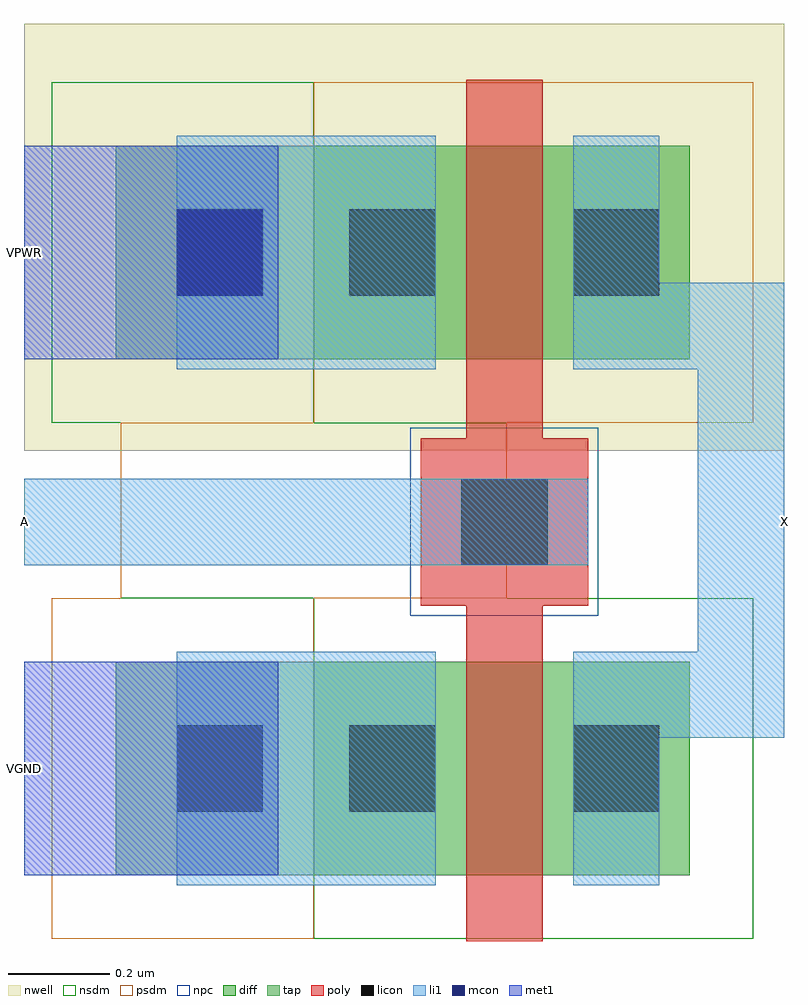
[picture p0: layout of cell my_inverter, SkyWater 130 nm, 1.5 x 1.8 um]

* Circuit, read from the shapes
.subckt my_inverter A VGND VPWR X
XM1 X A VSUBS VSUBS sky130_fd_pr__nfet_01v8 w=0.42 l=0.15
XM2 X A VPWR VPWR sky130_fd_pr__pfet_01v8 w=0.42 l=0.15
.ends

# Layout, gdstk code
import gdstk
lib = gdstk.Library(unit=1e-6, precision=1e-09)
def R(c, l, rs):  # rectangles x0, y0, x1, y1
    for r in rs: c.add(gdstk.rectangle(r[:2], r[2:], *l))
nwell = (64, 20)
diff = (65, 20)
tap = (65, 44)
poly = (66, 20)
licon = (66, 44)
li1 = (67, 20)
mcon = (67, 44)
met1 = (68, 20)
nsdm = (93, 44)
psdm = (94, 20)
npc = (95, 20)

my_inverter = lib.new_cell('my_inverter')
R(my_inverter, nwell, [(-0.945,0.47,0.55,1.31)])
R(my_inverter, diff, [(-0.375,-0.365,0.365,0.055), (-0.375,0.65,0.365,1.07)])
R(my_inverter, tap, [(-0.765,-0.365,-0.375,0.055), (-0.765,0.65,-0.375,1.07)])
R(my_inverter, poly, [(-0.075,-0.495,0.075,0.165), (-0.165,0.165,0.165,0.495), (-0.075,0.495,0.075,1.2)])
R(my_inverter, licon, [(-0.645,-0.24,-0.475,-0.07), (-0.305,-0.24,-0.135,-0.07), (0.135,-0.24,0.305,-0.07), (-0.085,0.245,0.085,0.415), (-0.645,0.775,-0.475,0.945), (-0.305,0.775,-0.135,0.945), (0.135,0.775,0.305,0.945)])
R(my_inverter, li1, [(-0.645,-0.385,-0.135,0.075), (0.135,-0.385,0.305,-0.095), (0.135,-0.095,0.55,0.075), (0.38,0.075,0.55,0.63), (-0.945,0.245,0.165,0.415), (-0.645,0.63,-0.135,1.09), (0.135,0.63,0.55,0.8), (0.135,0.8,0.305,1.09)])
R(my_inverter, mcon, [(-0.645,0.775,-0.475,0.945)])
R(my_inverter, met1, [(-0.945,-0.365,-0.445,0.055), (-0.945,0.65,-0.445,1.07)])
R(my_inverter, nsdm, [(-0.375,-0.49,0.49,0.18), (-0.755,0.18,0.005,0.525), (-0.89,0.525,-0.375,1.195)])
R(my_inverter, psdm, [(-0.89,-0.49,-0.375,0.18), (-0.755,0.18,0.005,0.525), (-0.375,0.525,0.49,1.195)])
R(my_inverter, npc, [(-0.185,0.145,0.185,0.515)])
my_inverter.add(gdstk.Label('A', (-0.945,0.33), layer=67, texttype=5))
my_inverter.add(gdstk.Label('X', (0.55,0.33), layer=67, texttype=5))
my_inverter.add(gdstk.Label('VGND', (-0.945,-0.155), layer=68, texttype=5))
my_inverter.add(gdstk.Label('VPWR', (-0.945,0.86), layer=68, texttype=5))

lib.write_gds('my_inverter.gds')
